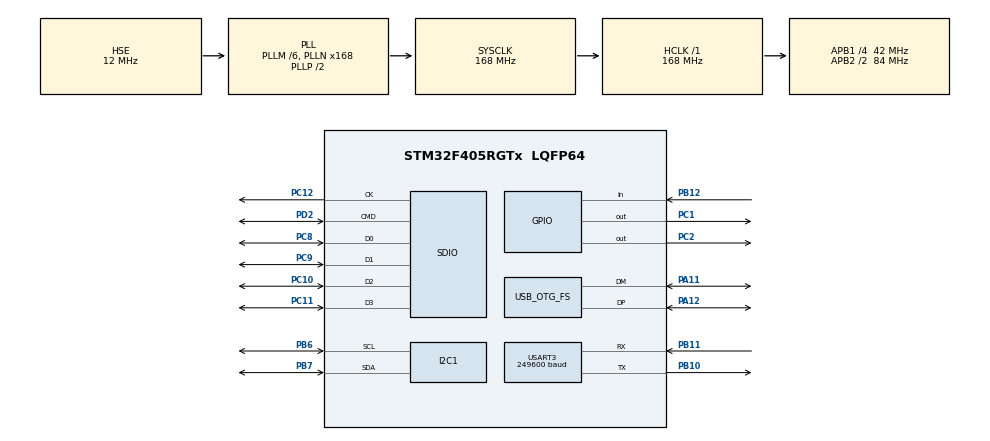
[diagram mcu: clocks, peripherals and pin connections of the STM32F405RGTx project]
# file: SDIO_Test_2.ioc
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Dma.Request0=SDIO_RX
Dma.Request1=SDIO_TX
Dma.SDIO_RX.0.Direction=DMA_PERIPH_TO_MEMORY
Dma.SDIO_RX.0.FIFOMode=DMA_FIFOMODE_ENABLE
Dma.SDIO_RX.0.FIFOThreshold=DMA_FIFO_THRESHOLD_FULL
Dma.SDIO_RX.0.Instance=DMA2_Stream3
Dma.SDIO_RX.0.MemBurst=DMA_MBURST_INC4
Dma.SDIO_RX.0.MemDataAlignment=DMA_MDATAALIGN_WORD
Dma.SDIO_RX.0.MemInc=DMA_MINC_ENABLE
Dma.SDIO_RX.0.Mode=DMA_PFCTRL
Dma.SDIO_RX.0.PeriphBurst=DMA_PBURST_INC4
Dma.SDIO_RX.0.PeriphDataAlignment=DMA_PDATAALIGN_WORD
Dma.SDIO_RX.0.PeriphInc=DMA_PINC_DISABLE
Dma.SDIO_RX.0.Priority=DMA_PRIORITY_LOW
Dma.SDIO_TX.1.Direction=DMA_MEMORY_TO_PERIPH
Dma.SDIO_TX.1.FIFOMode=DMA_FIFOMODE_ENABLE
Dma.SDIO_TX.1.FIFOThreshold=DMA_FIFO_THRESHOLD_FULL
Dma.SDIO_TX.1.Instance=DMA2_Stream6
Dma.SDIO_TX.1.MemBurst=DMA_MBURST_INC4
Dma.SDIO_TX.1.MemDataAlignment=DMA_MDATAALIGN_WORD
Dma.SDIO_TX.1.MemInc=DMA_MINC_ENABLE
Dma.SDIO_TX.1.Mode=DMA_PFCTRL
Dma.SDIO_TX.1.PeriphBurst=DMA_PBURST_INC4
Dma.SDIO_TX.1.PeriphDataAlignment=DMA_PDATAALIGN_WORD
Dma.SDIO_TX.1.PeriphInc=DMA_PINC_DISABLE
Dma.SDIO_TX.1.Priority=DMA_PRIORITY_LOW
FATFS.BSP.number=1
FATFS.USE_DMA_CODE_SD=1
FATFS._MAX_SS=4096
FATFS._MIN_SS=512
FATFS._USE_LFN=0
FATFS._USE_STRFUNC=1
FATFS0.BSP.STBoard=false
FATFS0.BSP.api=Unknown
FATFS0.BSP.instance=PB12
FATFS0.BSP.ip=GPIO
FATFS0.BSP.mode=Input
FATFS0.BSP.name=Detect_SDIO
FATFS0.BSP.solution=PB12
I2C1.I2C_Mode=I2C_Fast
Mcu.Family=STM32F4
Mcu.Name=STM32F405RGTx
Mcu.Package=LQFP64
NVIC.DMA2_Stream3_IRQn=true\:0\:0\:false\:false\:true\:false\:true\:true
NVIC.DMA2_Stream6_IRQn=true\:0\:0\:false\:false\:true\:false\:true\:true
NVIC.OTG_FS_IRQn=true\:0\:0\:false\:false\:true\:true\:true\:true
NVIC.PriorityGroup=NVIC_PRIORITYGROUP_4
NVIC.SDIO_IRQn=true\:0\:0\:false\:false\:true\:true\:true\:true
NVIC.TIM2_IRQn=true\:0\:0\:false\:false\:true\:true\:true\:true
NVIC.USART3_IRQn=true\:0\:0\:false\:false\:true\:true\:true\:true
PA11.Mode=Device_Only
PA11.Signal=USB_OTG_FS_DM
PA12.Mode=Device_Only
PA12.Signal=USB_OTG_FS_DP
PA13.Mode=Serial_Wire
PA13.Signal=SYS_JTMS-SWDIO
PA14.Mode=Serial_Wire
PA14.Signal=SYS_JTCK-SWCLK
PB10.Mode=Asynchronous
PB10.Signal=USART3_TX
PB11.Mode=Asynchronous
PB11.Signal=USART3_RX
PB12.Signal=GPIO_Input
PB6.Mode=I2C
PB6.Signal=I2C1_SCL
PB7.Mode=I2C
PB7.Signal=I2C1_SDA
PC1.Signal=GPIO_Output
PC10.GPIO_PuPd=GPIO_PULLUP
PC10.Mode=SD_4_bits_Wide_bus
PC10.Signal=SDIO_D2
PC11.GPIO_PuPd=GPIO_NOPULL
PC11.GPIO_Speed_High_Default=GPIO_SPEED_FREQ_VERY_HIGH
PC11.Mode=SD_4_bits_Wide_bus
PC11.Signal=SDIO_D3
PC12.GPIO_PuPd=GPIO_NOPULL
PC12.Mode=SD_4_bits_Wide_bus
PC12.Signal=SDIO_CK
PC2.Signal=GPIO_Output
PC8.GPIO_PuPd=GPIO_PULLUP
PC8.Mode=SD_4_bits_Wide_bus
PC8.Signal=SDIO_D0
PC9.GPIO_PuPd=GPIO_PULLUP
PC9.Mode=SD_4_bits_Wide_bus
PC9.Signal=SDIO_D1
PD2.GPIO_PuPd=GPIO_PULLUP
PD2.Mode=SD_4_bits_Wide_bus
PD2.Signal=SDIO_CMD
PH0-OSC_IN.Mode=HSE-External-Oscillator
PH0-OSC_IN.Signal=RCC_OSC_IN
PH1-OSC_OUT.Mode=HSE-External-Oscillator
PH1-OSC_OUT.Signal=RCC_OSC_OUT
ProjectManager.HeapSize=0x200
ProjectManager.StackSize=0x400
ProjectManager.TargetToolchain=STM32CubeIDE
RCC.48MHZClocksFreq_Value=48000000
RCC.AHBFreq_Value=168000000
RCC.APB1CLKDivider=RCC_HCLK_DIV4
RCC.APB1Freq_Value=42000000
RCC.APB1TimFreq_Value=84000000
RCC.APB2CLKDivider=RCC_HCLK_DIV2
RCC.APB2Freq_Value=84000000
RCC.APB2TimFreq_Value=168000000
RCC.CortexFreq_Value=168000000
RCC.HCLKFreq_Value=168000000
RCC.HSE_VALUE=12000000
RCC.HSI_VALUE=16000000
RCC.LSE_VALUE=32768
RCC.PLLM=6
RCC.PLLN=168
RCC.PLLQ=7
RCC.SYSCLKFreq_VALUE=168000000
RCC.SYSCLKSource=RCC_SYSCLKSOURCE_PLLCLK
RCC.VCOOutputFreq_Value=336000000
SDIO.ClockDiv=0
TIM2.Period=33-1
TIM2.Prescaler=4200-1
USART3.BaudRate=249600
USART3.VirtualMode=VM_ASYNC
USB_DEVICE.CLASS_NAME_FS=CDC
USB_DEVICE.VirtualMode-CDC_FS=Cdc
USB_DEVICE.VirtualModeFS=Cdc_FS
USB_OTG_FS.VirtualMode=Device_Only
VP_FATFS_VS_SDIO.Mode=SDIO
VP_TIM2_VS_ClockSourceINT.Mode=Internal
VP_USB_DEVICE_VS_USB_DEVICE_CDC_FS.Mode=CDC_FS
board=custom

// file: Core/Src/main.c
/* USER CODE BEGIN Header */
/**
  ******************************************************************************
  * @file           : main.c
  * @brief          : Main program body
  ******************************************************************************
  * @attention
  *
  * Copyright (c) 2023 STMicroelectronics.
  * All rights reserved.
  *
  * This software is licensed under terms that can be found in the LICENSE file
  * in the root directory of this software component.
  * If no LICENSE file comes with this software, it is provided AS-IS.
  *
  ******************************************************************************
  */
/* USER CODE END Header */
#include "main.h"
#include "fatfs.h"
#include "usb_device.h"

/* USER CODE BEGIN Includes */

#include <string.h>
#include <stdio.h>
#include <usbd_cdc_if.h>
#include <LIS3MDL.h>
#include <LSM6DSOX.h>
#include <math.h>

/* USER CODE END Includes */

/* USER CODE BEGIN PD */
#define LSM6DSOX_ADDRESS_1          0x6A
#define LSM6DSOX_ADDRESS_2			0x6B

#define LSM6DSOX_WHO_AM_I_REG       0X0F
#define LSM6DSOX_CTRL1_XL           0X10
#define LSM6DSOX_CTRL2_G            0X11

#define LSM6DSOX_STATUS_REG         0X1E

#define LSM6DSOX_CTRL6_C            0X15
#define LSM6DSOX_CTRL7_G            0X16
#define LSM6DSOX_CTRL8_XL           0X17

#define LSM6DSOX_OUT_TEMP_L			0x20
#define LSM6DSOX_OUT_TEMP_H			0x21

#define LSM6DSOX_OUTX_L_G           0X22
#define LSM6DSOX_OUTX_H_G           0X23
#define LSM6DSOX_OUTY_L_G           0X24
#define LSM6DSOX_OUTY_H_G           0X25
#define LSM6DSOX_OUTZ_L_G           0X26
#define LSM6DSOX_OUTZ_H_G           0X27

#define LSM6DSOX_OUTX_L_XL          0X28
#define LSM6DSOX_OUTX_H_XL          0X29
#define LSM6DSOX_OUTY_L_XL          0X2A
#define LSM6DSOX_OUTY_H_XL          0X2B
#define LSM6DSOX_OUTZ_L_XL          0X2C
#define LSM6DSOX_OUTZ_H_XL          0X2D

#define Calibration_Time			10
#define BUFFER_SIZE					1000
#define TEMP_BUFFER_SIZE			50

/* USER CODE END PD */

I2C_HandleTypeDef hi2c1;

SD_HandleTypeDef hsd;
DMA_HandleTypeDef hdma_sdio_rx;
DMA_HandleTypeDef hdma_sdio_tx;

TIM_HandleTypeDef htim2;

UART_HandleTypeDef huart3;

void SystemClock_Config(void);
static void MX_GPIO_Init(void);
static void MX_DMA_Init(void);
static void MX_SDIO_SD_Init(void);
static void MX_TIM2_Init(void);
void MX_I2C1_Init(void);
static void MX_USART3_UART_Init(void);
/* USER CODE BEGIN PFP */
FRESULT AppendToFile(char* path, size_t path_len, char* buf, size_t buf_len);
void BlinkLED(uint32_t blink_delay, uint8_t num_blinks);
int IMU_Initialization();
int Accelerometer_Gyroscope_Calibration();
void Write_File_Header();
void Gyro_Reading();
void Acc_Mag_Reading();
void SDI();
void Complementary_filter();
void Gyro_Integration_Test();
float fixed16Tofloat(uint16_t f16);
void EMG_Data_Reception();

/* USER CODE END PFP */

/* USER CODE BEGIN 0 */

FRESULT fres;
FATFS myFatFS;
FIL myFile;
UINT myBytes;
char log_path[] = "IMU_DATA.TXT";
char emg_log_path[] = "EMG_DATA.TXT";
char buf[BUFFER_SIZE];
int buffer_length = 0;
unsigned int i = 0;
int n_int = 0;
int emg_n_int = 0;
int gyro_fs = 600;
int flag = 0;
int emg_flag = 0;

char rx_data[24] = {0};

typedef struct
{
	float Accelerometer_X;
	float Accelerometer_Y;
	float Accelerometer_Z;
	float Gyroscope_X;
	float Gyroscope_Y;
	float Gyroscope_Z;
}IMU_raw_data;

typedef struct
{
	float area_x;
	float area_y;
	float area_z;
}SDI_areas;

typedef struct
{
	float x;
	float y;
	float z;
}Acc_readings;

typedef struct
{
	float x[6];
	float y[6];
	float z[6];
}Gyro_readings;

typedef struct
{
	float pitch;
	float roll;
	float yaw;
}Accel_angles;

typedef struct
{
	float roll;
	float pitch;
}Estimated_angles;

int IMU_ON_OFF[2] = {0};
float accelerometer_mean[2][3] = {0};
float gyroscope_offset[2][3] = {0};
int norm_acceleration[2] = {0,0};
IMU_raw_data IMUrawdata[2] = {0};
Gyro_readings Gyro_data[2] = {0};
Acc_readings Acc_data[2] = {0};
SDI_areas SDIareas[2] = {0};
SDI_areas Gyro_integral[2] = {0};
Accel_angles Acc_ang[2] = {0};
Estimated_angles Estim_ang[2] = {0};

int IMU_Initialization()
{
	int i;
	int initialization_flag;
	for(i = 0; i<2; i++)
	{
		if(IMU_ON_OFF[i] == 0)
		{
			switch(i)
			{
			case 0:
				initialization_flag = LSM6DSOX_begin(&hi2c1, LSM6DSOX_ADDRESS_1);
				if (initialization_flag == 0)
				{
					BlinkLED(200, 3);
				}
				else
				{
					IMU_ON_OFF[i] = 1;
				}
				break;

			case 1:
				initialization_flag = LSM6DSOX_begin(&hi2c1, LSM6DSOX_ADDRESS_2);
				if (initialization_flag == 0)
				{
					BlinkLED(200, 4);
				}
				else
				{
					IMU_ON_OFF[i] = 1;
				}
				break;
			}
		}
	}
	return initialization_flag;
}

int Accelerometer_Gyroscope_Calibration()
{
	int i, elapsed_time;
	int calibration_samples = 0;
	int begin_calibration = 0;
	do
	{

		for(i = 0; i<2; i++)
		{
			switch(i)
			{
			case 0:
				if((LSM6DSOX_accelerationAvailable(&hi2c1, LSM6DSOX_ADDRESS_1) == 1) &
						(LSM6DSOX_gyroscopeAvailable(&hi2c1, LSM6DSOX_ADDRESS_1) == 1))
				{
					LSM6DSOX_readAcceleration(&hi2c1, LSM6DSOX_ADDRESS_1, &IMUrawdata[i].Accelerometer_X, &IMUrawdata[i].Accelerometer_Y, &IMUrawdata[i].Accelerometer_Z);
					LSM6DSOX_readGyroscope(&hi2c1, LSM6DSOX_ADDRESS_1, &IMUrawdata[i].Gyroscope_X, &IMUrawdata[i].Gyroscope_Y, &IMUrawdata[i].Gyroscope_Z);
				}
				accelerometer_mean[i][0] += IMUrawdata[i].Accelerometer_X;
				accelerometer_mean[i][1] += IMUrawdata[i].Accelerometer_Y;
				accelerometer_mean[i][2] += IMUrawdata[i].Accelerometer_Z;
				gyroscope_offset[i][0] += IMUrawdata[i].Gyroscope_X;
				gyroscope_offset[i][1] += IMUrawdata[i].Gyroscope_Y;
				gyroscope_offset[i][2] += IMUrawdata[i].Gyroscope_Z;

				break;

			case 1:
				if((LSM6DSOX_accelerationAvailable(&hi2c1, LSM6DSOX_ADDRESS_2) == 1) &
						(LSM6DSOX_gyroscopeAvailable(&hi2c1, LSM6DSOX_ADDRESS_2) == 1))
				{
					LSM6DSOX_readAcceleration(&hi2c1, LSM6DSOX_ADDRESS_2, &IMUrawdata[i].Accelerometer_X, &IMUrawdata[i].Accelerometer_Y, &IMUrawdata[i].Accelerometer_Z);
					LSM6DSOX_readGyroscope(&hi2c1, LSM6DSOX_ADDRESS_2, &IMUrawdata[i].Gyroscope_X, &IMUrawdata[i].Gyroscope_Y, &IMUrawdata[i].Gyroscope_Z);
				}
				accelerometer_mean[i][0] += IMUrawdata[i].Accelerometer_X;
				accelerometer_mean[i][1] += IMUrawdata[i].Accelerometer_Y;
				accelerometer_mean[i][2] += IMUrawdata[i].Accelerometer_Z;
				gyroscope_offset[i][0] += IMUrawdata[i].Gyroscope_X;
				gyroscope_offset[i][1] += IMUrawdata[i].Gyroscope_Y;
				gyroscope_offset[i][2] += IMUrawdata[i].Gyroscope_Z;

				break;
			}
		}

		++calibration_samples;
		elapsed_time = HAL_GetTick() - begin_calibration;
	}while(elapsed_time < (Calibration_Time * 1000));

	for(i = 0; i<2; i++)
	{
		accelerometer_mean[i][0] = accelerometer_mean[i][0]/calibration_samples;
		accelerometer_mean[i][1] = accelerometer_mean[i][1]/calibration_samples;
		accelerometer_mean[i][2] = accelerometer_mean[i][2]/calibration_samples;
		gyroscope_offset[i][0] = gyroscope_offset[i][0]/calibration_samples;
		gyroscope_offset[i][1] = gyroscope_offset[i][1]/calibration_samples;
		gyroscope_offset[i][2] = gyroscope_offset[i][2]/calibration_samples;

		norm_acceleration[i] = round(sqrt(pow(accelerometer_mean[i][0], 2) + pow(accelerometer_mean[i][1], 2) + pow(accelerometer_mean[i][2], 2)));
	}

	return 0;
}

void HAL_TIM_PeriodElapsedCallback(TIM_HandleTypeDef *htim)
{
	if (htim == &htim2)
	{
		flag = 1;
		emg_flag = 1;
	}

}

/* USER CODE END 0 */

int main(void)
{

  /* MCU Configuration--------------------------------------------------------*/

  /* Reset of all peripherals, Initializes the Flash interface and the Systick. */
  HAL_Init();

  /* Configure the system clock */
  SystemClock_Config();

  /* Initialize all configured peripherals */
  MX_GPIO_Init();
  MX_DMA_Init();
  MX_SDIO_SD_Init();
  MX_FATFS_Init();
  MX_USB_DEVICE_Init();
  MX_TIM2_Init();
  MX_I2C1_Init();
  MX_USART3_UART_Init();
  /* USER CODE BEGIN 2 */

  IMU_Initialization();
  Accelerometer_Gyroscope_Calibration();
  HAL_TIM_Base_Start_IT(&htim2);

  LSM6DSOX_writeRegister8(&hi2c1, LSM6DSOX_ADDRESS_1, LSM6DSOX_CTRL1_XL, 0x44);
  LSM6DSOX_writeRegister8(&hi2c1, LSM6DSOX_ADDRESS_2, LSM6DSOX_CTRL1_XL, 0x44);
  /* USER CODE END 2 */

  /* Infinite loop */
  /* USER CODE BEGIN WHILE */

  while (1)
  {
	  if(flag == 1)
	  {

		  char temp_buffer[TEMP_BUFFER_SIZE];
		  Gyro_Reading();
		  n_int++;
		  if(n_int == 6)
		  {

			  Acc_Mag_Reading();
			  SDI();
			  //Gyro_Integration_Test();
			  Complementary_filter();

			  int temp_length = sprintf((char*)temp_buffer, "%.3f;%.3f;%.3f;%.3f",
					 Estim_ang[0].pitch, Estim_ang[0].roll, Estim_ang[1].pitch, Estim_ang[1].roll);

			  /*int temp_length = sprintf((char*)temp_buffer, "0.00;0.00;0.00;%.3f;%.3f;%.3f\n",
			  					   Acc_data[0].x, Acc_data[0].y, Acc_data[0].z);

			  CDC_Transmit_FS((uint8_t*)temp_buffer, strlen(temp_buffer));*/

			  for(size_t k = strlen(temp_buffer); k < TEMP_BUFFER_SIZE - 1; k++)
			  {
				  temp_buffer[k] = ' ';
			  }

			  if(buffer_length + TEMP_BUFFER_SIZE >= BUFFER_SIZE)
			  {

				  //CDC_Transmit_FS((uint8_t*)buf, strlen(buf));
				  AppendToFile(log_path, strlen(log_path), buf, strlen(buf));
				  buffer_length = 0;
			  }

			  if(buffer_length + TEMP_BUFFER_SIZE < BUFFER_SIZE)
			  {
				  memcpy(buf + buffer_length, temp_buffer, strlen(temp_buffer));
				  buffer_length += strlen(temp_buffer);
				  buf[buffer_length] = '\n';
				  buffer_length++;
				  buf[buffer_length] = '\0';
			  }

			  int i;

			  /*for(i = 0; i < 2; i++)
			  {
				  memset(&SDIareas[i].area_x, 0, sizeof(SDIareas[i].area_x));
				  memset(&SDIareas[i].area_y, 0, sizeof(SDIareas[i].area_y));
				  memset(&SDIareas[i].area_z, 0, sizeof(SDIareas[i].area_z));
			  }*/

			  n_int = 0;
		  }

		  flag = 0;
	  }

	  if(emg_flag == 1)
	  {
		  emg_n_int++;
		  if(emg_n_int == 126)
		  {
			  HAL_GPIO_WritePin(GPIOC, GPIO_PIN_1, GPIO_PIN_SET);
			  EMG_Data_Reception();
			  emg_n_int = 0;
			  HAL_GPIO_WritePin(GPIOC, GPIO_PIN_1, GPIO_PIN_RESET);
		  }
		  emg_flag = 0;
	  }

    /* USER CODE END WHILE */

  }
}

void SystemClock_Config(void)
{
  RCC_OscInitTypeDef RCC_OscInitStruct = {0};
  RCC_ClkInitTypeDef RCC_ClkInitStruct = {0};

  /** Configure the main internal regulator output voltage
  */
  __HAL_RCC_PWR_CLK_ENABLE();
  __HAL_PWR_VOLTAGESCALING_CONFIG(PWR_REGULATOR_VOLTAGE_SCALE1);

  /** Initializes the RCC Oscillators according to the specified parameters
  * in the RCC_OscInitTypeDef structure.
  */
  RCC_OscInitStruct.OscillatorType = RCC_OSCILLATORTYPE_HSE;
  RCC_OscInitStruct.HSEState = RCC_HSE_ON;
  RCC_OscInitStruct.PLL.PLLState = RCC_PLL_ON;
  RCC_OscInitStruct.PLL.PLLSource = RCC_PLLSOURCE_HSE;
  RCC_OscInitStruct.PLL.PLLM = 6;
  RCC_OscInitStruct.PLL.PLLN = 168;
  RCC_OscInitStruct.PLL.PLLP = RCC_PLLP_DIV2;
  RCC_OscInitStruct.PLL.PLLQ = 7;
  if (HAL_RCC_OscConfig(&RCC_OscInitStruct) != HAL_OK)
  {
    Error_Handler();
  }

  /** Initializes the CPU, AHB and APB buses clocks
  */
  RCC_ClkInitStruct.ClockType = RCC_CLOCKTYPE_HCLK|RCC_CLOCKTYPE_SYSCLK
                              |RCC_CLOCKTYPE_PCLK1|RCC_CLOCKTYPE_PCLK2;
  RCC_ClkInitStruct.SYSCLKSource = RCC_SYSCLKSOURCE_PLLCLK;
  RCC_ClkInitStruct.AHBCLKDivider = RCC_SYSCLK_DIV1;
  RCC_ClkInitStruct.APB1CLKDivider = RCC_HCLK_DIV4;
  RCC_ClkInitStruct.APB2CLKDivider = RCC_HCLK_DIV2;

  if (HAL_RCC_ClockConfig(&RCC_ClkInitStruct, FLASH_LATENCY_5) != HAL_OK)
  {
    Error_Handler();
  }
}

void MX_I2C1_Init(void)
{

  hi2c1.Instance = I2C1;
  hi2c1.Init.ClockSpeed = 400000;
  hi2c1.Init.DutyCycle = I2C_DUTYCYCLE_2;
  hi2c1.Init.OwnAddress1 = 0;
  hi2c1.Init.AddressingMode = I2C_ADDRESSINGMODE_7BIT;
  hi2c1.Init.DualAddressMode = I2C_DUALADDRESS_DISABLE;
  hi2c1.Init.OwnAddress2 = 0;
  hi2c1.Init.GeneralCallMode = I2C_GENERALCALL_DISABLE;
  hi2c1.Init.NoStretchMode = I2C_NOSTRETCH_DISABLE;
  if (HAL_I2C_Init(&hi2c1) != HAL_OK)
  {
    Error_Handler();
  }

}

static void MX_SDIO_SD_Init(void)
{

  hsd.Instance = SDIO;
  hsd.Init.ClockEdge = SDIO_CLOCK_EDGE_RISING;
  hsd.Init.ClockBypass = SDIO_CLOCK_BYPASS_DISABLE;
  hsd.Init.ClockPowerSave = SDIO_CLOCK_POWER_SAVE_DISABLE;
  hsd.Init.BusWide = SDIO_BUS_WIDE_1B;
  hsd.Init.HardwareFlowControl = SDIO_HARDWARE_FLOW_CONTROL_DISABLE;
  hsd.Init.ClockDiv = 0;

}

static void MX_TIM2_Init(void)
{

  TIM_ClockConfigTypeDef sClockSourceConfig = {0};
  TIM_MasterConfigTypeDef sMasterConfig = {0};

  htim2.Instance = TIM2;
  htim2.Init.Prescaler = 4200-1;
  htim2.Init.CounterMode = TIM_COUNTERMODE_UP;
  htim2.Init.Period = 33-1;
  htim2.Init.ClockDivision = TIM_CLOCKDIVISION_DIV1;
  htim2.Init.AutoReloadPreload = TIM_AUTORELOAD_PRELOAD_DISABLE;
  if (HAL_TIM_Base_Init(&htim2) != HAL_OK)
  {
    Error_Handler();
  }
  sClockSourceConfig.ClockSource = TIM_CLOCKSOURCE_INTERNAL;
  if (HAL_TIM_ConfigClockSource(&htim2, &sClockSourceConfig) != HAL_OK)
  {
    Error_Handler();
  }
  sMasterConfig.MasterOutputTrigger = TIM_TRGO_RESET;
  sMasterConfig.MasterSlaveMode = TIM_MASTERSLAVEMODE_DISABLE;
  if (HAL_TIMEx_MasterConfigSynchronization(&htim2, &sMasterConfig) != HAL_OK)
  {
    Error_Handler();
  }

}

static void MX_USART3_UART_Init(void)
{

  huart3.Instance = USART3;
  huart3.Init.BaudRate = 249600;
  huart3.Init.WordLength = UART_WORDLENGTH_8B;
  huart3.Init.StopBits = UART_STOPBITS_1;
  huart3.Init.Parity = UART_PARITY_NONE;
  huart3.Init.Mode = UART_MODE_TX_RX;
  huart3.Init.HwFlowCtl = UART_HWCONTROL_NONE;
  huart3.Init.OverSampling = UART_OVERSAMPLING_16;
  if (HAL_UART_Init(&huart3) != HAL_OK)
  {
    Error_Handler();
  }

}

static void MX_DMA_Init(void)
{

  /* DMA controller clock enable */
  __HAL_RCC_DMA2_CLK_ENABLE();

  /* DMA interrupt init */
  /* DMA2_Stream3_IRQn interrupt configuration */
  HAL_NVIC_SetPriority(DMA2_Stream3_IRQn, 0, 0);
  HAL_NVIC_EnableIRQ(DMA2_Stream3_IRQn);
  /* DMA2_Stream6_IRQn interrupt configuration */
  HAL_NVIC_SetPriority(DMA2_Stream6_IRQn, 0, 0);
  HAL_NVIC_EnableIRQ(DMA2_Stream6_IRQn);

}

static void MX_GPIO_Init(void)
{
  GPIO_InitTypeDef GPIO_InitStruct = {0};

  /* GPIO Ports Clock Enable */
  __HAL_RCC_GPIOH_CLK_ENABLE();
  __HAL_RCC_GPIOC_CLK_ENABLE();
  __HAL_RCC_GPIOB_CLK_ENABLE();
  __HAL_RCC_GPIOA_CLK_ENABLE();
  __HAL_RCC_GPIOD_CLK_ENABLE();

  /*Configure GPIO pin Output Level */
  HAL_GPIO_WritePin(GPIOC, GPIO_PIN_1|GPIO_PIN_2, GPIO_PIN_RESET);

  /*Configure GPIO pins : PC1 PC2 */
  GPIO_InitStruct.Pin = GPIO_PIN_1|GPIO_PIN_2;
  GPIO_InitStruct.Mode = GPIO_MODE_OUTPUT_PP;
  GPIO_InitStruct.Pull = GPIO_NOPULL;
  GPIO_InitStruct.Speed = GPIO_SPEED_FREQ_LOW;
  HAL_GPIO_Init(GPIOC, &GPIO_InitStruct);

  /*Configure GPIO pin : PB12 */
  GPIO_InitStruct.Pin = GPIO_PIN_12;
  GPIO_InitStruct.Mode = GPIO_MODE_INPUT;
  GPIO_InitStruct.Pull = GPIO_NOPULL;
  HAL_GPIO_Init(GPIOB, &GPIO_InitStruct);

}

/* USER CODE BEGIN 4 */

FRESULT AppendToFile(char* path, size_t path_len, char* buf, size_t buf_len)
{
	FATFS myFatFS;
	FIL myFile;
	UINT myBytes;
	FRESULT stat;

	/*if ( (path[path_len] != 0) || (buf[buf_len] != 0) ) {
		return FR_INVALID_NAME;
	}

	// Re-initialize SD
	if ( BSP_SD_Init() != MSD_OK ) {
		return FR_NOT_READY;
	}

	// Re-initialize FATFS
	if ( FATFS_UnLinkDriver(SDPath) != 0 ) {
		return FR_NOT_READY;
	}
	if ( FATFS_LinkDriver(&SD_Driver, SDPath) != 0 ) {
		return FR_NOT_READY;
	}*/

	stat = f_mount(&myFatFS, SDPath, 0);
	if(stat != FR_OK)
	{
		f_mount(0, SDPath, 0);
		return stat;
	}

	stat = f_open(&myFile, path, FA_WRITE | FA_OPEN_APPEND);
	if(stat != FR_OK)
	{
		f_mount(0, SDPath, 0);
		return stat;
	}

	stat = f_write(&myFile, buf, buf_len, &myBytes);
	if(stat != FR_OK)
	{
		f_mount(0, SDPath, 0);
		return stat;
	}

	stat = f_close(&myFile);

	f_mount(0, SDPath, 0);

	return stat;

}

void BlinkLED(uint32_t blink_delay, uint8_t num_blinks) {
  for ( int i = 0; i < num_blinks; i++ ) {
    HAL_GPIO_WritePin(GPIOC, GPIO_PIN_1, GPIO_PIN_SET);
    HAL_Delay(blink_delay);
    HAL_GPIO_WritePin(GPIOC, GPIO_PIN_1, GPIO_PIN_RESET);
    HAL_Delay(blink_delay);
  }
}

void Gyro_Reading()
{
	//HAL_GPIO_WritePin(GPIOC, GPIO_PIN_1, GPIO_PIN_SET);
	int i;
	char test_buffer[30];
	for(i = 0;i < 2;i++)
	{
		switch(i)
		{
			case 0:
				if(LSM6DSOX_gyroscopeAvailable(&hi2c1, LSM6DSOX_ADDRESS_1)==1)
				{
					LSM6DSOX_readGyroscope(&hi2c1, LSM6DSOX_ADDRESS_1, &Gyro_data[i].x[n_int-1], &Gyro_data[i].y[n_int-1], &Gyro_data[i].z[n_int-1]);
					Gyro_data[i].x[n_int-1] -= gyroscope_offset[i][0];
					Gyro_data[i].y[n_int-1] -= gyroscope_offset[i][1];
					Gyro_data[i].z[n_int-1] -= gyroscope_offset[i][2];
				}
				break;

			case 1:
				if(LSM6DSOX_gyroscopeAvailable(&hi2c1, LSM6DSOX_ADDRESS_2)==1)
				{
					LSM6DSOX_readGyroscope(&hi2c1, LSM6DSOX_ADDRESS_2, &Gyro_data[i].x[n_int-1], &Gyro_data[i].y[n_int-1], &Gyro_data[i].z[n_int-1]);
					Gyro_data[i].x[n_int-1] -= gyroscope_offset[i][0];
					Gyro_data[i].y[n_int-1] -= gyroscope_offset[i][1];
					Gyro_data[i].z[n_int-1] -= gyroscope_offset[i][2];
				}
				break;
		}
	}
	/*sprintf((char*)test_buffer, "%.3f;%.3f;%.3f;0.000;0.000;0.000\n", Gyro_data[0].x[n_int-1], Gyro_data[0].y[n_int-1], Gyro_data[0].z[n_int-1]);
	CDC_Transmit_FS((uint8_t*)test_buffer, strlen(test_buffer));
	HAL_GPIO_WritePin(GPIOC, GPIO_PIN_1, GPIO_PIN_RESET);*/
}

void Acc_Mag_Reading()
{

	int i;

	for(i = 0;i < 2;i++)
	  {
		  switch(i)
		  {
		  case 0:
			  if(LSM6DSOX_accelerationAvailable(&hi2c1, LSM6DSOX_ADDRESS_1)==1)
			  {
				  LSM6DSOX_readAcceleration(&hi2c1, LSM6DSOX_ADDRESS_1, &Acc_data[i].x, &Acc_data[i].y, &Acc_data[i].z);
				  Acc_data[i].x/=norm_acceleration[i];
				  Acc_data[i].y/=norm_acceleration[i];
				  Acc_data[i].z/=norm_acceleration[i];
			  }
			  break;

		  case 1:
			  if(LSM6DSOX_accelerationAvailable(&hi2c1, LSM6DSOX_ADDRESS_2)==1)
			  {
				  LSM6DSOX_readAcceleration(&hi2c1, LSM6DSOX_ADDRESS_2, &Acc_data[i].x, &Acc_data[i].y, &Acc_data[i].z);
				  Acc_data[i].x/=norm_acceleration[i];
				  Acc_data[i].y/=norm_acceleration[i];
				  Acc_data[i].z/=norm_acceleration[i];
			  }
			  break;
		  }
	  }

}

void SDI()
{
	//HAL_GPIO_WritePin(GPIOC, GPIO_PIN_1, GPIO_PIN_SET);
	int k;
	int i;
	for(i = 0; i<2; i++)
	{
		for(k = 0; k < 9; k++)
		{
			SDIareas[i].area_x += ((Gyro_data[i].x[k] + Gyro_data[i].x[k+1])/(2*gyro_fs));
			SDIareas[i].area_y += ((Gyro_data[i].y[k] + Gyro_data[i].y[k+1])/(2*gyro_fs));
			SDIareas[i].area_z += ((Gyro_data[i].z[k] + Gyro_data[i].z[k+1])/(2*gyro_fs));
		}
	}
	//HAL_GPIO_WritePin(GPIOC, GPIO_PIN_1, GPIO_PIN_RESET);
}

void Complementary_filter()
{
	//HAL_GPIO_WritePin(GPIOC, GPIO_PIN_1, GPIO_PIN_SET);
	int i;
	for(i = 0; i < 2; i++)
	{
		Acc_ang[i].pitch = atan2(-Acc_data[i].x, sqrt(pow(Acc_data[i].y, 2.0) + pow(Acc_data[i].z, 2.0))) * 180.0/M_PI;
		Acc_ang[i].roll = atan2(Acc_data[i].y, sqrt(pow(Acc_data[i].x, 2.0) + pow(Acc_data[i].z, 2.0))) * 180.0/M_PI;

		Estim_ang[i].roll = (0.982207 * Acc_ang[i].roll) + (0.017794 * SDIareas[i].area_x);
		Estim_ang[i].pitch = (0.981646 * Acc_ang[i].pitch) + (0.018354 * SDIareas[i].area_y);
	}
	//HAL_GPIO_WritePin(GPIOC, GPIO_PIN_1, GPIO_PIN_RESET);
}

void Gyro_Integration_Test()
{
	int k;
	int i;
	for(i = 0; i < 2; i++)
	{
		for(k = 0; k < 10; k++)
		{
			Gyro_integral[i].area_x += ((Gyro_data[i].x[k]) * 1/gyro_fs);
			Gyro_integral[i].area_y += ((Gyro_data[i].y[k]) * 1/gyro_fs);
			Gyro_integral[i].area_z += ((Gyro_data[i].z[k]) * 1/gyro_fs);
		}
	}
}

void EMG_Data_Reception()
{
	if(HAL_UART_Receive(&huart3, (uint8_t*)rx_data, sizeof(rx_data), HAL_MAX_DELAY) == HAL_OK)
	{
		CDC_Transmit_FS((uint8_t*)rx_data, strlen(rx_data));
		AppendToFile(emg_log_path, sizeof(emg_log_path), (char*)rx_data, sizeof(rx_data));
	}

	else
	{
		BlinkLED(200, 5);
	}
}

/* USER CODE END 4 */

void Error_Handler(void)
{
  __disable_irq();
  while (1)
  {
  }
}
